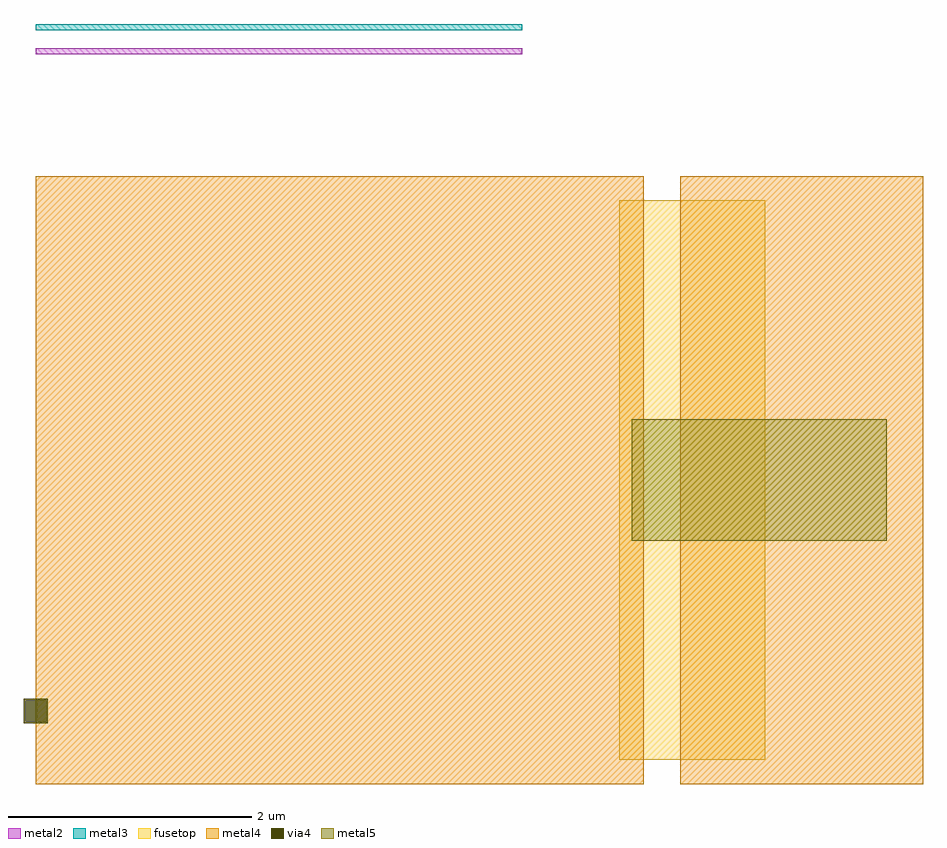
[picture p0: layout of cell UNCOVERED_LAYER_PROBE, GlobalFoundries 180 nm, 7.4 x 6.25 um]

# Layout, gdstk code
import gdstk
lib = gdstk.Library(unit=1e-6, precision=1e-09)
def R(c, l, rs):  # rectangles x0, y0, x1, y1
    for r in rs: c.add(gdstk.rectangle(r[:2], r[2:], *l))
metal2 = (36, 0)
via4 = (41, 0)
metal3 = (42, 0)
metal4 = (46, 0)
fusetop = (75, 0)
metal5 = (81, 0)

uncovered_layer_probe = lib.new_cell('UNCOVERED_LAYER_PROBE')
R(uncovered_layer_probe, metal2, [(0,6,4,6.05)])
R(uncovered_layer_probe, via4, [(-0.1,0.5,0.1,0.7)])
R(uncovered_layer_probe, metal3, [(0,6.2,4,6.25)])
R(uncovered_layer_probe, metal4, [(0,0,5,5), (5.3,0,7.3,5)])
R(uncovered_layer_probe, fusetop, [(4.8,0.2,6,4.8)])
R(uncovered_layer_probe, metal5, [(4.9,2,7,3)])

lib.write_gds('UNCOVERED_LAYER_PROBE.gds')
